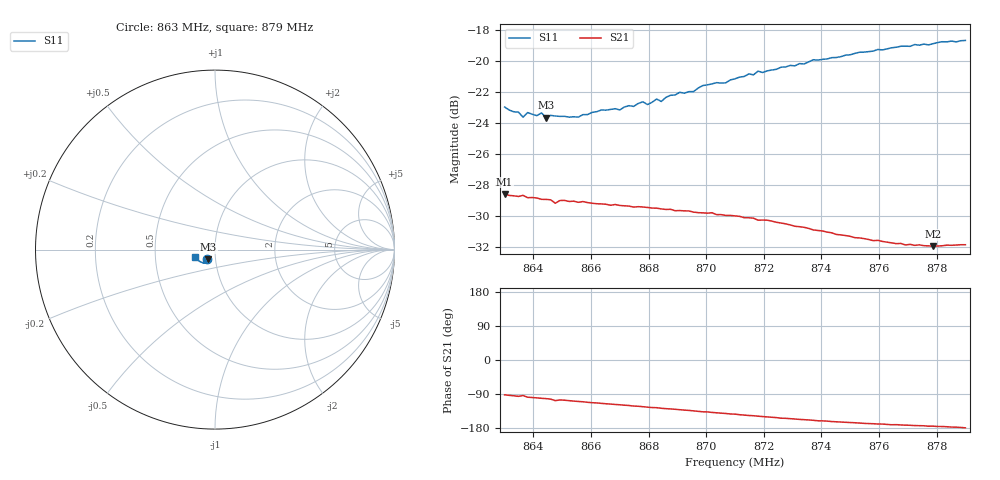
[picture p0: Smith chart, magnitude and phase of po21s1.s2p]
# HZ S RI R 50
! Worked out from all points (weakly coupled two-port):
!   101 points, 863 MHz to 879 MHz, reference 50 ohm
!   highest |S21| = -28.61 dB at 863 MHz (marker M1); lowest = -32.0 dB at 877.88 MHz (marker M2)
!   lowest |S11| = -23.7 dB at 864.44 MHz (marker M3), VSWR 1.14, Z = 46.1 - j4.95 ohm
!   |S11| at or under -10 dB: start of sweep to end of sweep
!   S12 and S22 are empty: the file has one direction only
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8.63e8  -0.0453 -0.0546  -0.00127 -0.0371  0 0  0 0
8.6348e8  -0.0432 -0.0529  -0.00375 -0.0363  0 0  0 0
8.6364e8  -0.0379 -0.0538  -0.00244 -0.0367  0 0  0 0
8.638e8  -0.0418 -0.0537  -0.00514 -0.0358  0 0  0 0
8.6412e8  -0.0389 -0.0539  -0.00623 -0.0355  0 0  0 0
8.6428e8  -0.0394 -0.0553  -0.00683 -0.035  0 0  0 0
8.6444e8  -0.0379 -0.0534  -0.00735 -0.0349  0 0  0 0
8.6476e8  -0.038 -0.0544  -0.0103 -0.0331  0 0  0 0
8.6572e8  -0.0347 -0.0573  -0.0121 -0.0329  0 0  0 0
8.67e8  -0.0347 -0.0601  -0.0161 -0.0301  0 0  0 0
8.678e8  -0.0362 -0.0642  -0.0185 -0.0282  0 0  0 0
8.6796e8  -0.0347 -0.0634  -0.019 -0.0277  0 0  0 0
8.6828e8  -0.0365 -0.0658  -0.0196 -0.0271  0 0  0 0
8.6844e8  -0.0359 -0.0646  -0.0202 -0.0264  0 0  0 0
8.6908e8  -0.0397 -0.0684  -0.0216 -0.0247  0 0  0 0
8.6956e8  -0.0402 -0.0686  -0.0226 -0.0233  0 0  0 0
8.6988e8  -0.0425 -0.0715  -0.0235 -0.0222  0 0  0 0
8.71e8  -0.0478 -0.0733  -0.0252 -0.019  0 0  0 0
8.7372e8  -0.0682 -0.0743  -0.0266 -0.0101  0 0  0 0
8.7644e8  -0.0914 -0.0615  -0.0255 -0.0041  0 0  0 0
8.7788e8  -0.1023 -0.0495  -0.0251 -0.00235  0 0  0 0
8.79e8  -0.1095 -0.0393  -0.0255 -0.00045  0 0  0 0
